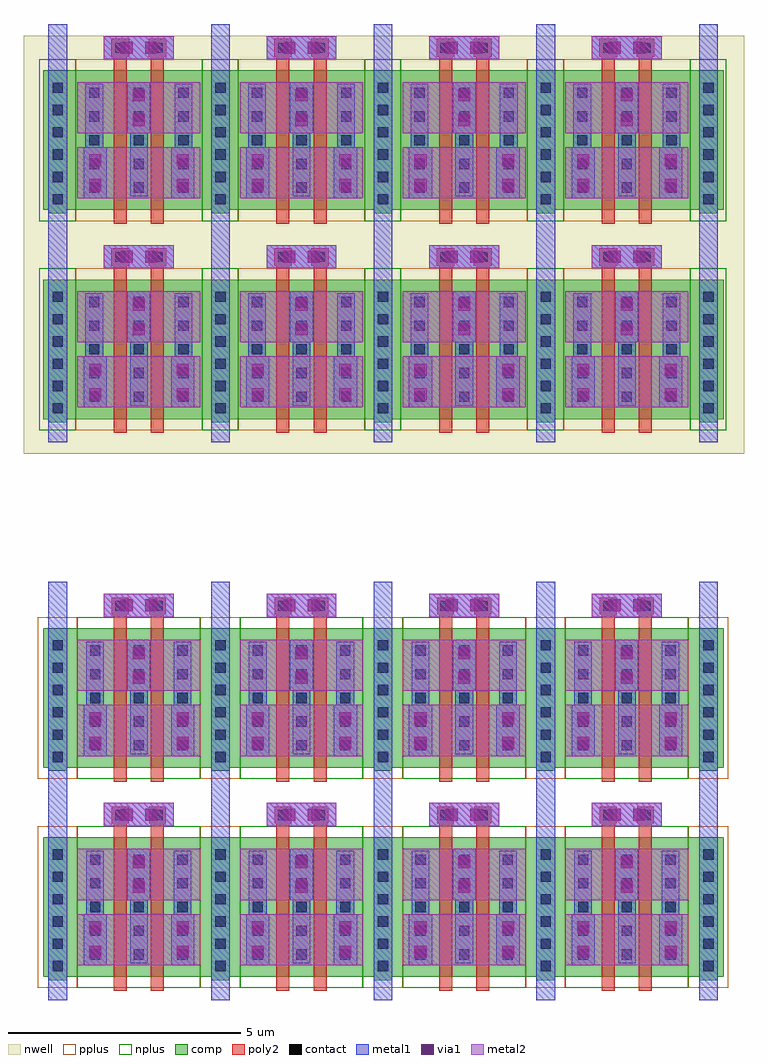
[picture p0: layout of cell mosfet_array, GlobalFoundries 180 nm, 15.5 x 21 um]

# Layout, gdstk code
from math import pi, radians
import gdstk
lib = gdstk.Library(unit=1e-6, precision=1e-09)
def R(c, l, rs):  # rectangles x0, y0, x1, y1
    for r in rs: c.add(gdstk.rectangle(r[:2], r[2:], *l))
def A(c, l, x, y, w, h, nx, ny, dx, dy):  # array of equal rectangles
    R(c, l, [(x+i*dx, y+j*dy, x+i*dx+w, y+j*dy+h) for i in range(nx) for j in range(ny)])
nwell = (21, 0)
comp = (22, 0)
poly2 = (30, 0)
pplus = (31, 0)
nplus = (32, 0)
contact = (33, 0)
metal1 = (34, 0)
via1 = (35, 0)
metal2 = (36, 0)

via_dev = lib.new_cell('via_dev')
R(via_dev, comp, [(0,0,3,0.4)])
A(via_dev, contact, 0.19, 0.09, 0.22, 0.22, 6, 1, 0.48, 0)
R(via_dev, metal1, [(0,0,3,0.4)])

via_dev_4 = lib.new_cell('via_dev$4')
R(via_dev_4, metal1, [(0,0,0.5,1.1)])
R(via_dev_4, via1, [(0.12,0.155,0.38,0.415), (0.12,0.685,0.38,0.945)])
R(via_dev_4, metal2, [(0,0,0.5,1.1)])

via_dev_5 = lib.new_cell('via_dev$5')
R(via_dev_5, metal1, [(0,0,1.5,0.5)])
R(via_dev_5, via1, [(0.355,0.12,0.615,0.38), (0.885,0.12,1.145,0.38)])
R(via_dev_5, metal2, [(0,0,1.5,0.5)])

nfet_1 = lib.new_cell('nfet$1')
R(nfet_1, comp, [(-0.42,0,0,3), (0,0,1.46,3), (1.46,0,1.88,3)])
R(nfet_1, poly2, [(0.19,-0.3,0.47,3.3), (0.99,-0.3,1.27,3.3), (0.15,3.3,0.51,3.66), (0.95,3.3,1.31,3.66)])
R(nfet_1, nplus, [(-0.59,-0.24,2.05,3.24)])
A(nfet_1, contact, -0.32, 0.37, 0.22, 0.22, 3, 5, 0.94, 0.51)
R(nfet_1, contact, [(0.22,3.37,0.44,3.59), (1.02,3.37,1.24,3.59)])
A(nfet_1, metal1, -0.4, 0.29, 0.38, 2.42, 3, 1, 0.94, 0)
R(nfet_1, metal1, [(0.14,3.289,0.52,3.671), (0.94,3.289,1.32,3.671)])

unit_nmos = lib.new_cell('unit_nmos')
R(unit_nmos, comp, [(-1.325,0,2.815,3)])
R(unit_nmos, pplus, [(-1.45,-0.24,-0.59,3.24), (2.05,-0.24,2.91,3.24)])
unit_nmos.add(gdstk.FlexPath([(-1.015,-0.5),(-1.015,4)], 0.4, ends="flush", simple_path=True, layer=34, datatype=0))  # metal1
unit_nmos.add(gdstk.FlexPath([(2.485,-0.5),(2.485,4)], 0.4, ends="flush", simple_path=True, layer=34, datatype=0))  # metal1
unit_nmos.add(gdstk.FlexPath([(-0.59,0.8),(2.05,0.8)], 1.1, ends="flush", simple_path=True, layer=36, datatype=0))  # metal2
unit_nmos.add(gdstk.FlexPath([(-0.59,2.2),(2.05,2.2)], 1.1, ends="flush", simple_path=True, layer=36, datatype=0))  # metal2
unit_nmos.add(gdstk.Reference(via_dev, (-0.815,-0.07), rotation=pi/2))
unit_nmos.add(gdstk.Reference(via_dev, (2.685,-0.07), rotation=pi/2))
unit_nmos.add(gdstk.Reference(via_dev_4, (-0.46,0.25)))
unit_nmos.add(gdstk.Reference(via_dev_4, (0.48,1.65)))
unit_nmos.add(gdstk.Reference(via_dev_4, (1.425,0.25)))
unit_nmos.add(gdstk.Reference(via_dev_5, (-0.02,3.24)))
unit_nmos.add(gdstk.Reference(nfet_1, (0,0)))

via_dev_6 = lib.new_cell('via_dev$6')
R(via_dev_6, comp, [(0,0,3,0.4)])
A(via_dev_6, contact, 0.19, 0.09, 0.22, 0.22, 6, 1, 0.48, 0)
R(via_dev_6, metal1, [(0,0,3,0.4)])

via_dev_7 = lib.new_cell('via_dev$7')
R(via_dev_7, metal1, [(0,0,0.5,1.1)])
R(via_dev_7, via1, [(0.12,0.155,0.38,0.415), (0.12,0.685,0.38,0.945)])
R(via_dev_7, metal2, [(0,0,0.5,1.1)])

via_dev_8 = lib.new_cell('via_dev$8')
R(via_dev_8, metal1, [(0,0,1.5,0.5)])
R(via_dev_8, via1, [(0.355,0.12,0.615,0.38), (0.885,0.12,1.145,0.38)])
R(via_dev_8, metal2, [(0,0,1.5,0.5)])

pfet_1 = lib.new_cell('pfet$1')
R(pfet_1, nwell, [(-0.9,-0.44,2.36,3.44)])
R(pfet_1, comp, [(-0.46,0,0,3), (0,0,1.46,3), (1.46,0,1.92,3)])
R(pfet_1, poly2, [(0.19,-0.3,0.47,3.3), (0.99,-0.3,1.27,3.3), (0.14,3.3,0.52,3.68), (0.94,3.3,1.32,3.68)])
R(pfet_1, pplus, [(-0.63,-0.24,2.09,3.24)])
A(pfet_1, contact, -0.34, 0.37, 0.22, 0.22, 3, 5, 0.96, 0.51)
R(pfet_1, contact, [(0.22,3.38,0.44,3.6), (1.02,3.38,1.24,3.6)])
A(pfet_1, metal1, -0.42, 0.29, 0.38, 2.42, 3, 1, 0.96, 0)
R(pfet_1, metal1, [(0.14,3.299,0.52,3.681), (0.94,3.299,1.32,3.681)])

unit_pmos = lib.new_cell('unit_pmos')
R(unit_pmos, nwell, [(-1.745,-0.75,3.255,3.75)])
R(unit_pmos, comp, [(-1.325,0,2.815,3)])
R(unit_pmos, nplus, [(-1.41,-0.24,-0.63,3.24), (2.09,-0.24,2.87,3.24)])
unit_pmos.add(gdstk.FlexPath([(-1.015,-0.5),(-1.015,4)], 0.4, ends="flush", simple_path=True, layer=34, datatype=0))  # metal1
unit_pmos.add(gdstk.FlexPath([(2.485,-0.5),(2.485,4)], 0.4, ends="flush", simple_path=True, layer=34, datatype=0))  # metal1
unit_pmos.add(gdstk.FlexPath([(-0.59,0.8),(2.05,0.8)], 1.1, ends="flush", simple_path=True, layer=36, datatype=0))  # metal2
unit_pmos.add(gdstk.FlexPath([(-0.59,2.2),(2.05,2.2)], 1.1, ends="flush", simple_path=True, layer=36, datatype=0))  # metal2
unit_pmos.add(gdstk.Reference(via_dev_6, (-0.815,-0.07), rotation=pi/2))
unit_pmos.add(gdstk.Reference(via_dev_6, (2.685,-0.07), rotation=pi/2))
unit_pmos.add(gdstk.Reference(via_dev_7, (-0.46,0.25)))
unit_pmos.add(gdstk.Reference(via_dev_7, (0.48,1.65)))
unit_pmos.add(gdstk.Reference(via_dev_7, (1.425,0.25)))
unit_pmos.add(gdstk.Reference(via_dev_8, (-0.02,3.24)))
unit_pmos.add(gdstk.Reference(pfet_1, (0,0)))

mosfet_array = lib.new_cell('mosfet_array')
r = gdstk.Reference(unit_nmos, (0,0)); r.repetition = gdstk.Repetition(4, 2, v1=(3.5,0), v2=(0,4.5)); mosfet_array.add(r)
r = gdstk.Reference(unit_pmos, (0,12)); r.repetition = gdstk.Repetition(4, 2, v1=(3.5,0), v2=(0,4.5)); mosfet_array.add(r)

lib.write_gds('mosfet_array.gds')
